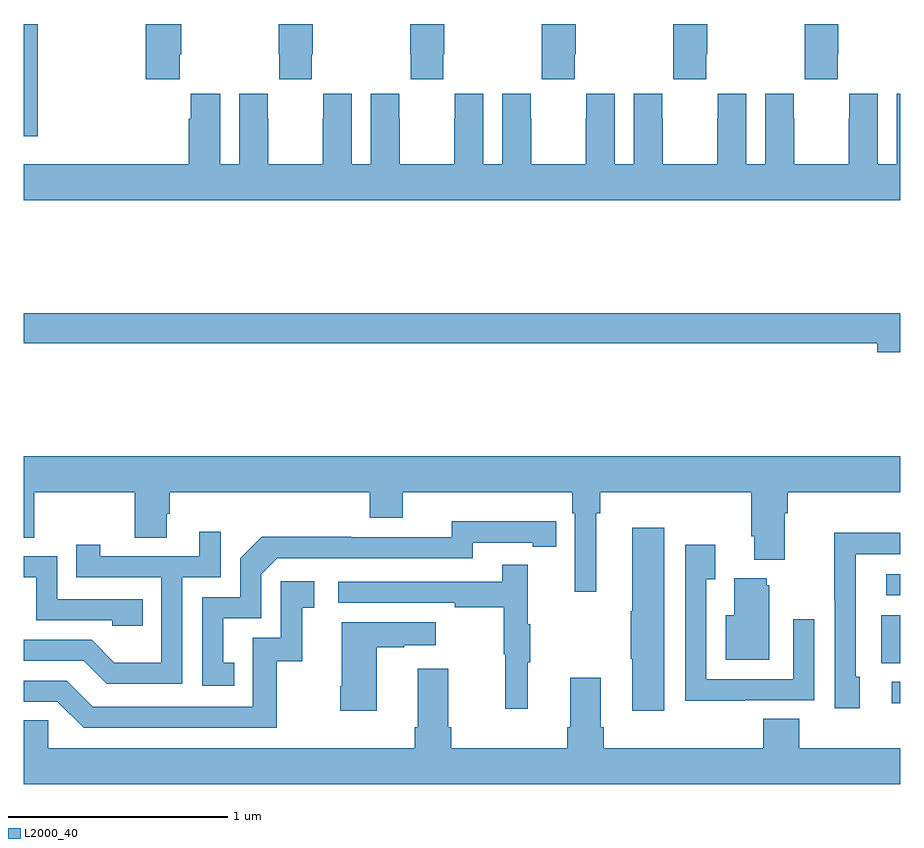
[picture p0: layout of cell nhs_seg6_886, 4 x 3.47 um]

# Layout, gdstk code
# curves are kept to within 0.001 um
import gdstk
lib = gdstk.Library(unit=1e-6, precision=1e-09)
def R(c, l, rs):  # rectangles x0, y0, x1, y1
    for r in rs: c.add(gdstk.rectangle(r[:2], r[2:], *l))
def P(c, l, *ps):  # polygons
    for p in ps: c.add(gdstk.Polygon(p, *l))
L2000_40 = (2000, 40)

nhs_seg6_886 = lib.new_cell('nhs_seg6_886')
R(nhs_seg6_886, L2000_40, [(170.961,918.401,171,918.498), (170.912,918.583,171,918.802), (170.937,918.894,171,918.99), (167,920.988,167.063,921.5)])
P(nhs_seg6_886, L2000_40, [(170.715,921.361),(170.718,921.361),(170.718,921.5),(170.563,921.5),(170.563,921.361),(170.565,921.361),(170.565,921.249),(170.715,921.249)],
  [(170.115,921.361),(170.118,921.361),(170.118,921.5),(169.963,921.5),(169.963,921.361),(169.965,921.361),(169.965,921.249),(170.115,921.249)],
  [(169.515,921.361),(169.518,921.361),(169.518,921.5),(169.363,921.5),(169.363,921.361),(169.365,921.361),(169.365,921.249),(169.515,921.249)],
  [(168.915,921.361),(168.918,921.361),(168.918,921.5),(168.763,921.5),(168.763,921.361),(168.765,921.361),(168.765,921.249),(168.915,921.249)],
  [(168.315,921.361),(168.318,921.361),(168.318,921.5),(168.163,921.5),(168.163,921.361),(168.165,921.361),(168.165,921.249),(168.315,921.249)],
  [(167.711,921.361),(167.718,921.361),(167.718,921.5),(167.558,921.5),(167.558,921.249),(167.711,921.249)],
  [(171,921.181),(170.984,921.181),(170.984,920.86),(170.896,920.86),(170.896,921.181),(170.766,921.181),(170.766,921.068),(170.765,921.068),(170.765,920.86),(170.515,920.86),(170.515,921.068),(170.514,921.068),(170.514,921.181),(170.384,921.181),(170.384,920.86),(170.296,920.86),(170.296,921.181),(170.166,921.181),(170.166,921.068),(170.165,921.068),(170.165,920.86),(169.915,920.86),(169.915,921.068),(169.914,921.068),(169.914,921.181),(169.784,921.181),(169.784,920.86),(169.696,920.86),(169.696,921.181),(169.566,921.181),(169.566,921.068),(169.565,921.068),(169.565,920.86),(169.315,920.86),(169.315,921.068),(169.314,921.068),(169.314,921.181),(169.184,921.181),(169.184,920.86),(169.096,920.86),(169.096,921.181),(168.966,921.181),(168.966,921.068),(168.965,921.068),(168.965,920.86),(168.715,920.86),(168.715,921.068),(168.714,921.068),(168.714,921.181),(168.584,921.181),(168.584,920.86),(168.496,920.86),(168.496,921.181),(168.366,921.181),(168.366,921.068),(168.365,921.068),(168.365,920.86),(168.115,920.86),(168.115,921.068),(168.114,921.068),(168.114,921.181),(167.984,921.181),(167.984,920.86),(167.896,920.86),(167.896,921.181),(167.762,921.181),(167.762,921.068),(167.753,921.068),(167.753,920.86),(167,920.86),(167,920.696),(171,920.696)],
  [(171,920.18),(167,920.18),(167,920.044),(170.894,920.044),(170.894,920.002),(171,920.002)],
  [(169.612,919.268),(169.631,919.268),(169.631,919.364),(170.321,919.364),(170.321,919.162),(170.333,919.162),(170.333,919.055),(170.473,919.055),(170.473,919.268),(170.486,919.268),(170.486,919.364),(171,919.364),(171,919.528),(167,919.528),(167,919.156),(167.049,919.156),(167.049,919.364),(167.506,919.364),(167.506,919.156),(167.653,919.156),(167.653,919.266),(167.666,919.266),(167.666,919.364),(168.578,919.364),(168.578,919.247),(168.73,919.247),(168.73,919.364),(169.502,919.364),(169.502,919.268),(169.515,919.268),(169.515,918.909),(169.612,918.909)],
  [(167.96,918.585),(167.911,918.585),(167.911,918.789),(168.084,918.789),(168.084,918.99),(168.156,919.062),(169.05,919.062),(169.05,919.134),(169.322,919.134),(169.322,919.114),(169.43,919.114),(169.43,919.23),(168.954,919.231),(168.954,919.158),(168.494,919.158),(168.494,919.16),(168.086,919.16),(167.988,919.062),(167.988,918.885),(167.814,918.885),(167.814,918.48),(167.96,918.48)],
  [(169.924,919.201),(169.778,919.201),(169.778,918.821),(169.771,918.821),(169.771,918.604),(169.778,918.604),(169.778,918.366),(169.924,918.366)],
  [(167.724,918.975),(167.898,918.975),(167.898,919.183),(167.801,919.183),(167.801,919.071),(167.35,919.071),(167.35,919.123),(167.239,919.123),(167.239,918.975),(167.628,918.975),(167.628,918.586),(167.414,918.586),(167.31,918.69),(167,918.69),(167,918.594),(167.273,918.594),(167.378,918.489),(167.724,918.489)],
  [(170.815,918.522),(170.796,918.522),(170.796,919.08),(171,919.08),(171,919.178),(170.698,919.178),(170.698,918.871),(170.7,918.871),(170.7,918.378),(170.815,918.378)],
  [(170.291,918.414),(170.607,918.414),(170.607,918.784),(170.511,918.784),(170.511,918.51),(170.115,918.51),(170.115,918.967),(170.155,918.967),(170.155,919.123),(170.019,919.123),(170.019,918.413),(170.291,918.413)],
  [(167.543,918.876),(167.154,918.876),(167.154,919.071),(167,919.071),(167,918.975),(167.058,918.975),(167.058,918.78),(167.403,918.78),(167.403,918.753),(167.543,918.753)],
  [(169.301,918.587),(169.312,918.587),(169.312,918.761),(169.301,918.761),(169.301,919.033),(169.183,919.033),(169.183,918.954),(168.435,918.954),(168.435,918.858),(168.967,918.858),(168.967,918.838),(169.191,918.838),(169.191,918.624),(169.198,918.624),(169.198,918.375),(169.301,918.375)],
  [(170.401,918.939),(170.39,918.939),(170.39,918.97),(170.243,918.97),(170.243,918.802),(170.204,918.802),(170.204,918.599),(170.401,918.599)],
  [(168.154,918.591),(168.272,918.591),(168.272,918.837),(168.325,918.837),(168.325,918.958),(168.174,918.958),(168.174,918.699),(168.045,918.699),(168.045,918.384),(167.316,918.384),(167.196,918.504),(167,918.504),(167,918.408),(167.154,918.408),(167.274,918.288),(168.154,918.288)],
  [(168.61,918.655),(168.737,918.655),(168.737,918.665),(168.88,918.665),(168.88,918.769),(168.452,918.769),(168.452,918.478),(168.445,918.478),(168.445,918.366),(168.61,918.366)],
  [(171,918.196),(170.54,918.196),(170.54,918.329),(170.375,918.329),(170.375,918.196),(169.646,918.196),(169.646,918.292),(169.633,918.292),(169.633,918.517),(169.493,918.517),(169.493,918.292),(169.481,918.292),(169.481,918.196),(168.95,918.196),(168.95,918.292),(168.937,918.292),(168.937,918.559),(168.797,918.559),(168.797,918.292),(168.785,918.292),(168.785,918.196),(167.112,918.196),(167.112,918.323),(167,918.323),(167,918.032),(171,918.032)])

lib.write_gds('nhs_seg6_886.gds')
